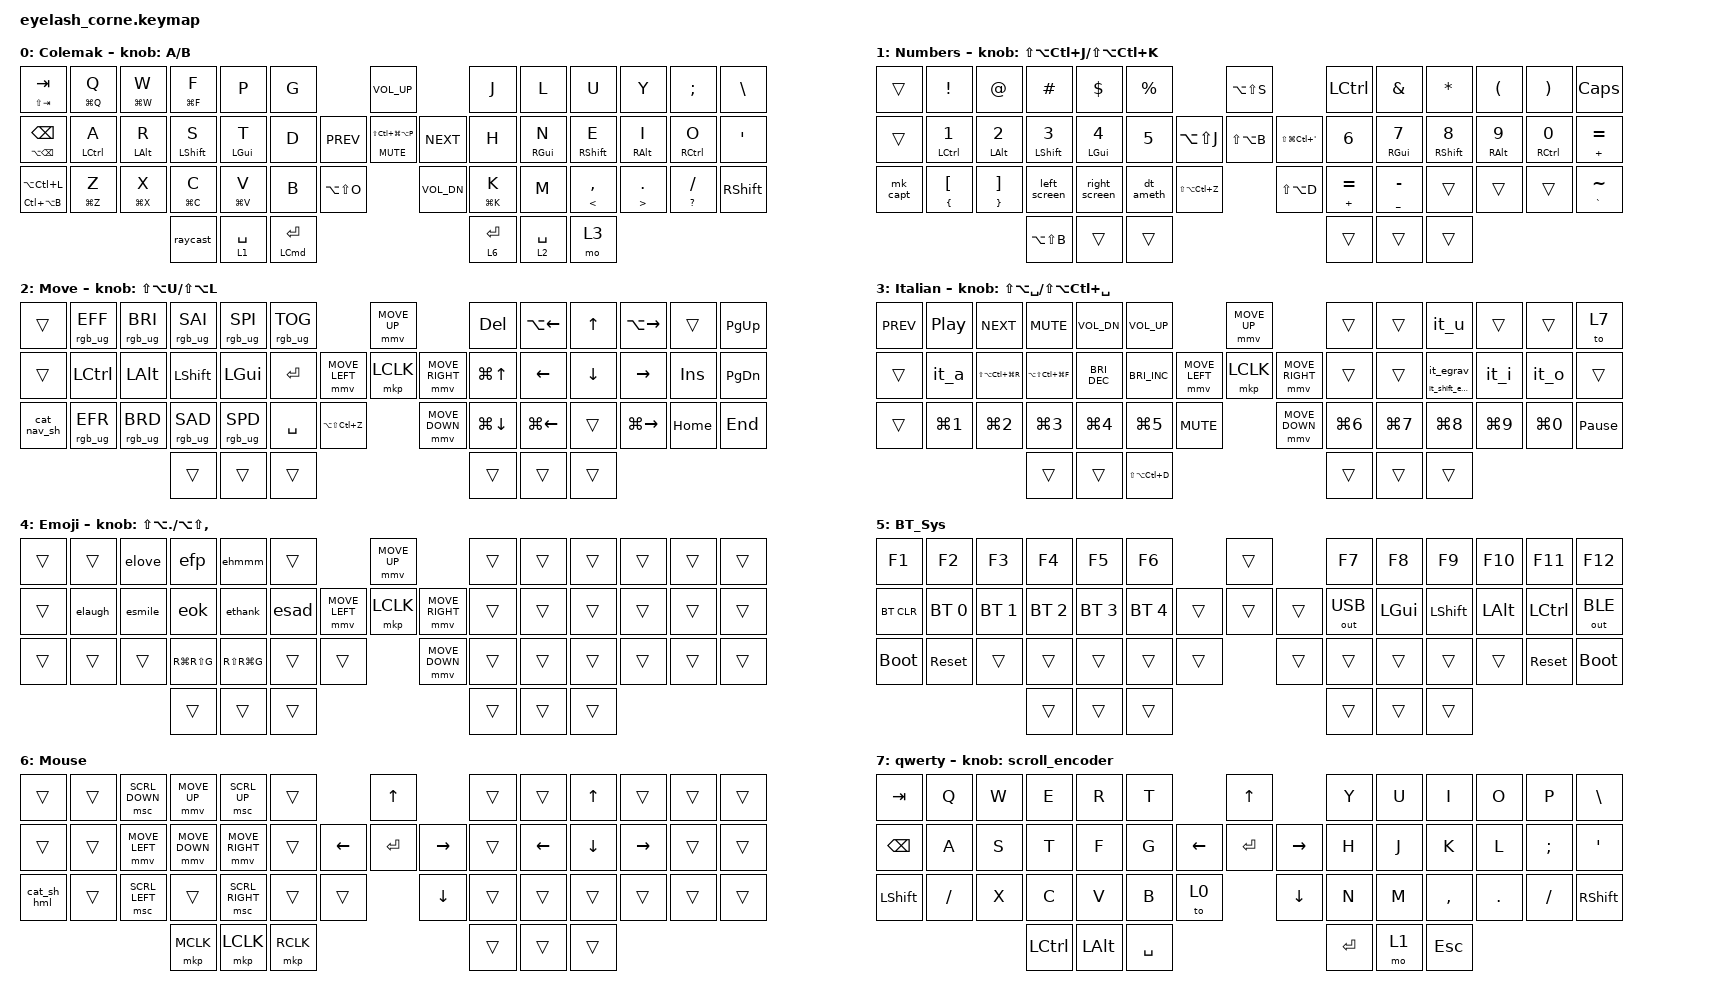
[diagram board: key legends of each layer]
#define ZMK_POINTING_DEFAULT_MOVE_VAL 1000  // 600
#define ZMK_POINTING_DEFAULT_SCRL_VAL 20   // 10

#include <input/processors.dtsi>
#include <zephyr/dt-bindings/input/input-event-codes.h>
#include <behaviors.dtsi>
#include <dt-bindings/zmk/bt.h>
#include <dt-bindings/zmk/keys.h>
#include <dt-bindings/zmk/outputs.h>
#include <dt-bindings/zmk/pointing.h>
#include <dt-bindings/zmk/rgb.h>

&mmv_input_listener { input-processors = <&zip_xy_scaler 2 1>; };

&msc_input_listener { input-processors = <&zip_scroll_scaler 2 1>; };

&msc {
    acceleration-exponent = <1>;      // 0
    time-to-max-speed-ms = <200>;       // 300
    delay-ms = <0>;                   // 0
};

&mmv {
    time-to-max-speed-ms = <500>;
    acceleration-exponent = <1>;
    trigger-period-ms = <16>;
};

&lt {
    tapping-term-ms = <175>;
    flavor = "balanced";
};

/ {
    behaviors {
        td0: td0 {
            compatible = "zmk,behavior-tap-dance";
            display-name = "Shift/Caps Lock Tap Dance";
            #binding-cells = <0>;
            bindings = <&kp LEFT_SHIFT>, <&kp CAPS>;
        };

        ht_bck: ht_bck {
            compatible = "zmk,behavior-hold-tap";
            label = "HT_BCK";
            bindings = <&kp>, <&kp>;

            #binding-cells = <2>;
            tapping-term-ms = <145>;
            quick-tap-ms = <0>;
            require-prior-idle-ms = <140>;
            flavor = "balanced";
        };

        ht: ht {
            compatible = "zmk,behavior-hold-tap";
            label = "HT";
            bindings = <&kp>, <&kp>;

            #binding-cells = <2>;
            tapping-term-ms = <145>;
            quick-tap-ms = <50>;
            require-prior-idle-ms = <50>;
            flavor = "balanced";
        };

        as: as {
            compatible = "zmk,behavior-hold-tap";
            label = "AS";
            #binding-cells = <2>;
            bindings = <&kp>, <&kp>;

            tapping-term-ms = <190>;
            quick-tap-ms = <50>;
            require-prior-idle-ms = <50>;
            flavor = "balanced";
        };

        lhmrow: lhmrow {
            compatible = "zmk,behavior-hold-tap";
            label = "LHMROW";
            bindings = <&kp>, <&kp>;

            #binding-cells = <2>;
            tapping-term-ms = <170>;
            quick-tap-ms = <30>;
            require-prior-idle-ms = <100>;
            flavor = "balanced";
            hold-trigger-key-positions = <7 8 9 10 11 12 22 23 24 25 26 27 36 37 38 39 40 41 45 46 47 6 7 8 9 10 20 21 22 23 24 25 35 36 37 38 39 45 46 47 19>;
        };

        rhmrow: rhmrow {
            compatible = "zmk,behavior-hold-tap";
            label = "RHMROW";
            bindings = <&kp>, <&kp>;

            #binding-cells = <2>;
            tapping-term-ms = <170>;
            quick-tap-ms = <30>;
            require-prior-idle-ms = <100>;
            flavor = "balanced";
            hold-trigger-key-positions = <0 1 2 3 4 5 13 14 15 16 17 18 28 29 30 31 32 33 34 42 43 44>;
        };

        mk_capt: mk_capt {
            compatible = "zmk,behavior-tap-dance";
            label = "MK_CAPT";
            #binding-cells = <0>;
            bindings =
                <&ht LS(LC(LG(NUMBER_4))) LG(LS(NUMBER_2))>,
                <&ht LG(LS(N5)) LG(LS(NUMBER_4))>;

            tapping-term-ms = <185>;
        };

        it_e: it_e {
            compatible = "zmk,behavior-hold-tap";
            label = "IT_E";
            bindings = <&it_shift_egrav>, <&it_egrav>;

            #binding-cells = <2>;
            tapping-term-ms = <145>;
            quick-tap-ms = <50>;
            require-prior-idle-ms = <50>;
            flavor = "balanced";
        };

        dt_ameth: dt_ameth {
            compatible = "zmk,behavior-tap-dance";
            label = "DT_AMETH";
            #binding-cells = <0>;
            tapping-term-ms = <185>;
            bindings = <&kp LA(LS(O))>, <&kp LA(LS(D))>, <&kp LS(LA(J))>;
        };

        cat_sh_hml: cat_sh_hml {
            compatible = "zmk,behavior-tap-dance";
            label = "CAT_SH_HML";
            #binding-cells = <0>;
            bindings = <&ht LEFT_SHIFT LS(LA(LG(SLASH)))>, <&to 0>;

            tapping-term-ms = <220>;
        };

        cat_nav_sh: cat_nav_sh {
            compatible = "zmk,behavior-tap-dance";
            label = "CAT_NAV_SH";
            #binding-cells = <0>;
            tapping-term-ms = <190>;
            bindings =
                <&ht LEFT_SHIFT LS(LA(LG(SLASH)))>,
                <&kp RG(RS(G))>,
                <&to 6>;
        };

        raycast: raycast {
            compatible = "zmk,behavior-tap-dance";
            label = "RAYCAST";
            #binding-cells = <0>;
            bindings = <&lt 4 LG(SPACE)>, <&kp LC(LG(SPACE))>;

            tapping-term-ms = <175>;
        };

        left_screen: left_screen {
            compatible = "zmk,behavior-tap-dance";
            label = "LEFT_SCREEN";
            #binding-cells = <0>;
            tapping-term-ms = <175>;
            bindings = <&ht LA(LS(LC(W))) LC(LEFT)>, <&kp LA(LS(W))>;
        };

        right_screen: right_screen {
            compatible = "zmk,behavior-tap-dance";
            label = "RIGHT_SCREEN";
            #binding-cells = <0>;
            tapping-term-ms = <175>;
            bindings = <&ht LA(LS(LC(E))) LC(RIGHT)>, <&kp LA(LS(Y))>;
        };

        mic: mic {
            compatible = "zmk,behavior-tap-dance";
            label = "MIC";
            #binding-cells = <0>;
            bindings = <&kp F>, <&kp F>, <&kp RG(RS(G))>;

            tapping-term-ms = <180>;
        };

        ht_cmd: ht_cmd {
            compatible = "zmk,behavior-hold-tap";
            label = "HT_CMD";
            bindings = <&kp>, <&kp>;

            #binding-cells = <2>;
            tapping-term-ms = <185>;
            quick-tap-ms = <50>;
            require-prior-idle-ms = <50>;
            flavor = "tap-preferred";
        };
    };

    rgb_encoder: rgb_encoder {
        compatible = "zmk,behavior-sensor-rotate";
        #sensor-binding-cells = <0>;
        bindings = <&rgb_ug RGB_BRI>, <&rgb_ug RGB_BRD>;
    };

    scroll_encoder: scroll_encoder {
        compatible = "zmk,behavior-sensor-rotate";
        #sensor-binding-cells = <0>;
        bindings = <&msc SCRL_DOWN>, <&msc SCRL_UP>;

        tap-ms = <100>;
    };

    macros {
        it_egrav: it_egrav {
            compatible = "zmk,behavior-macro";
            #binding-cells = <0>;
            bindings = <&kp LA(GRAVE) &kp E>;
            label = "IT_EGRAV";
            wait-ms = <30>;
        };

        it_shift_egrav: it_shift_egrav {
            compatible = "zmk,behavior-macro";
            #binding-cells = <0>;
            bindings = <&kp LA(E) &kp E>;
            label = "IT_SHIFT_EGRAV";
        };

        it_i: it_i {
            compatible = "zmk,behavior-macro";
            #binding-cells = <0>;
            bindings = <&kp LA(GRAVE) &kp I>;
            label = "IT_I";
        };

        it_o: it_o {
            compatible = "zmk,behavior-macro";
            #binding-cells = <0>;
            bindings = <&kp LA(GRAVE) &kp O>;
            label = "IT_O";
        };

        it_u: it_u {
            compatible = "zmk,behavior-macro";
            #binding-cells = <0>;
            bindings = <&kp LA(GRAVE) &kp U>;
            label = "IT_U";
        };

        it_a: it_a {
            compatible = "zmk,behavior-macro";
            #binding-cells = <0>;
            bindings = <&kp LA(GRAVE) &kp A>;
            label = "IT_A";
        };

        elaugh: elaugh {
            compatible = "zmk,behavior-macro";
            #binding-cells = <0>;
            bindings = <&kp UNDERSCORE &kp L &kp A>;
            label = "ELAUGH";
            wait-ms = <20>;
        };

        eok: eok {
            compatible = "zmk,behavior-macro";
            #binding-cells = <0>;
            bindings = <&kp UNDERSCORE &kp O &kp K>;
            label = "EOK";
            wait-ms = <20>;
        };

        ethank: ethank {
            compatible = "zmk,behavior-macro";
            #binding-cells = <0>;
            bindings = <&kp UNDERSCORE &kp T &kp H>;
            label = "ETHANK";
            wait-ms = <20>;
        };

        esmile: esmile {
            compatible = "zmk,behavior-macro";
            #binding-cells = <0>;
            bindings = <&kp UNDERSCORE &kp S &kp M>;
            label = "ESMILE";
            wait-ms = <20>;
        };

        esad: esad {
            compatible = "zmk,behavior-macro";
            #binding-cells = <0>;
            bindings = <&kp UNDERSCORE &kp S &kp A &kp D>;
            label = "ESAD";
            wait-ms = <20>;
        };

        elove: elove {
            compatible = "zmk,behavior-macro";
            #binding-cells = <0>;
            bindings = <&kp UNDERSCORE &kp L &kp V>;
            label = "ELOVE";
            wait-ms = <20>;
        };

        ehmmm: ehmmm {
            compatible = "zmk,behavior-macro";
            #binding-cells = <0>;
            bindings = <&kp UNDERSCORE &kp H &kp M>;
            label = "EHMMM";
            wait-ms = <20>;
        };

        ecoffe: ecoffe {
            compatible = "zmk,behavior-macro";
            #binding-cells = <0>;
            bindings = <&kp UNDERSCORE &kp C &kp F>;
            label = "ECOFFE";
            wait-ms = <20>;
        };

        doublecmd: doublecmd {
            compatible = "zmk,behavior-macro";
            #binding-cells = <0>;
            bindings = <&kp LCMD &kp LCMD>;
            label = "DOUBLECMD";
            wait-ms = <50>;
        };

        doublectrl: doublectrl {
            compatible = "zmk,behavior-macro";
            #binding-cells = <0>;
            bindings = <&kp LCTRL &kp LCTRL>;
            label = "DOUBLECTRL";
            wait-ms = <100>;
        };

        efp: efp {
            compatible = "zmk,behavior-macro";
            #binding-cells = <0>;
            bindings = <&kp UNDERSCORE &kp F &kp P>;
            label = "EFP";
            wait-ms = <20>;
        };
    };

    combos {
        compatible = "zmk,combos";

        Escape {
            bindings = <&kp ESCAPE>;
            key-positions = <3 2>;
            timeout-ms = <30>;
            require-prior-idle-ms = <50>;
            layers = <1 0 2>;
        };

        Cut {
            bindings = <&kp LG(X)>;
            key-positions = <30 29>;
            timeout-ms = <30>;
            require-prior-idle-ms = <50>;
            layers = <1 0 2>;
        };

        Emojy-Raycast {
            bindings = <&kp LG(LC(SPACE))>;
            key-positions = <30 31>;
            timeout-ms = <30>;
            require-prior-idle-ms = <50>;
            layers = <1 0 2>;
        };

        Paste {
            bindings = <&kp LG(V)>;
            key-positions = <31 32>;
            timeout-ms = <30>;
            require-prior-idle-ms = <50>;
            layers = <0 2 1>;
        };

        Del {
            bindings = <&kp DEL>;
            key-positions = <3 4>;
            timeout-ms = <30>;
            require-prior-idle-ms = <50>;
            layers = <0 2 1>;
        };

        toLayerZezo {
            bindings = <&kp LG(Z)>;
            key-positions = <28 29>;
            timeout-ms = <30>;
            require-prior-idle-ms = <50>;
            layers = <0 2 1>;
        };

        cmd_shift_left {
            bindings = <&kp LG(LEFT_SHIFT)>;
            key-positions = <17 16>;
            timeout-ms = <30>;
            require-prior-idle-ms = <50>;
            layers = <0 2 1>;
        };

        cmd_shift_right {
            bindings = <&kp RG(RIGHT_SHIFT)>;
            key-positions = <23 24>;
            timeout-ms = <30>;
            require-prior-idle-ms = <50>;
            layers = <0 2 1>;
        };

        ctrl_cmd_left {
            bindings = <&kp LG(LCTRL)>;
            key-positions = <17 14>;
            timeout-ms = <30>;
            require-prior-idle-ms = <50>;
            layers = <0 2 1>;
        };

        cmd_ctrl_right {
            bindings = <&kp RG(RCTRL)>;
            key-positions = <23 26>;
            timeout-ms = <30>;
            require-prior-idle-ms = <50>;
            layers = <0 2 1>;
        };

        alt_cmd_left {
            bindings = <&kp LG(LEFT_ALT)>;
            key-positions = <15 17>;
            timeout-ms = <30>;
            require-prior-idle-ms = <50>;
            layers = <0 2 1>;
        };

        alt_cmd_right {
            bindings = <&kp RG(RIGHT_ALT)>;
            key-positions = <23 25>;
            timeout-ms = <30>;
            require-prior-idle-ms = <50>;
            layers = <0 2 1>;
        };

        alt+shift-left {
            bindings = <&kp LA(LEFT_SHIFT)>;
            key-positions = <15 16>;
            timeout-ms = <30>;
            require-prior-idle-ms = <50>;
            layers = <0 2 1>;
        };

        alt+shift-right {
            bindings = <&kp RA(RIGHT_SHIFT)>;
            key-positions = <25 24>;
            timeout-ms = <30>;
            require-prior-idle-ms = <50>;
            layers = <0 2 1>;
        };

        ShortCat {
            bindings = <&kp LA(LS(LG(SLASH)))>;
            key-positions = <9 10>;
            timeout-ms = <30>;
            require-prior-idle-ms = <50>;
            layers = <0 2 1>;
        };

        ctrl-alt-shift-left {
            bindings = <&kp LS(LA(LCTRL))>;
            key-positions = <14 15 16>;
            layers = <0 2 1>;
            timeout-ms = <30>;
            require-prior-idle-ms = <50>;
        };

        ctrl-alt-shift-right {
            bindings = <&kp LS(LA(RCTRL))>;
            key-positions = <24 25 26>;
            timeout-ms = <30>;
            require-prior-idle-ms = <50>;
            layers = <0 2 1>;
        };
    };

    keymap {
        compatible = "zmk,keymap";

        Colemak {
            display-name = "Colemak";
            bindings = <
&ht LS(TAB) TAB             &ht_cmd LG(Q) Q  &ht_cmd LG(W) W     &ht_cmd LG(F) F       &kp P               &kp G                                        &kp C_VOLUME_UP                           &kp J            &kp L                &kp U                  &kp Y                    &kp SEMI            &kp BSLH
&ht_bck LA(BSPC) BACKSPACE  &lhmrow LCTRL A  &lhmrow LEFT_ALT R  &lhmrow LEFT_SHIFT S  &lhmrow LEFT_GUI T  &kp D                            &kp C_PREV  &as C_MUTE LS(LC(LG(LA(P))))  &kp C_NEXT  &kp H            &rhmrow RIGHT_GUI N  &rhmrow RIGHT_SHIFT E  &rhmrow RIGHT_ALT I      &rhmrow RCTRL O     &kp SQT
&ht LC(LA(B)) LA(LC(L))     &ht_cmd LG(Z) Z  &ht_cmd LG(X) X     &ht_cmd LG(C) C       &ht_cmd LG(V) V     &kp B           &kp LA(LS(O))                &kp C_VOL_DN                              &ht_cmd LG(K) K  &kp M                &as LESS_THAN COMMA    &as GREATER_THAN PERIOD  &as QUESTION SLASH  &kp RSHFT
                                                                 &raycast              &lt 1 SPACE         &ht LCMD ENTER                                                                         &lt 6 ENTER      &lt 2 SPACE          &mo 3
            >;

            sensor-bindings = <&inc_dec_kp A B>;
        };

        Numbers {
            display-name = "Numbers";
            bindings = <
&trans    &kp EXCLAMATION              &kp AT_SIGN                    &kp POUND                    &kp DOLLAR             &kp PERCENT                                      &kp LA(LS(S))                       &kp LCTRL       &kp AMPERSAND         &kp ASTERISK      &kp LEFT_PARENTHESIS  &kp RIGHT_PARENTHESIS  &kp CAPSLOCK
&trans    &lhmrow LCTRL NUMBER_1       &lhmrow LALT NUMBER_2          &lhmrow LEFT_SHIFT NUMBER_3  &lhmrow LGUI NUMBER_4  &kp N5                            &kp LA(LS(J))  &kp LS(LA(B))  &kp LS(LG(LC(SQT)))  &kp N6          &rhmrow RGUI N7       &rhmrow RSHFT N8  &rhmrow RIGHT_ALT N9  &rhmrow RCTRL N0       &as PLUS EQUAL
&mk_capt  &as LEFT_BRACE LEFT_BRACKET  &as RIGHT_BRACE RIGHT_BRACKET  &left_screen                 &right_screen          &dt_ameth    &kp LS(LA(LC(Z)))                   &kp LS(LA(D))                       &as PLUS EQUAL  &as UNDERSCORE MINUS  &trans            &trans                &trans                 &as GRAVE TILDE
                                                                      &kp LA(LS(B))                &trans                 &trans                                                                               &trans          &trans                &trans
            >;

            sensor-bindings = <&inc_dec_kp LS(LA(LC(J))) LS(LA(LC(K)))>;
        };

        Move {
            display-name = "Move";
            bindings = <
&trans       &rgb_ug RGB_EFF  &rgb_ug RGB_BRI  &rgb_ug RGB_SAI  &rgb_ug RGB_SPI  &rgb_ug RGB_TOG                                       &mmv MOVE_UP                     &kp DEL           &kp LA(LEFT)  &kp UP    &kp LA(RIGHT)  &trans    &kp PG_UP
&trans       &kp LCTRL        &kp LALT         &kp LSHFT        &kp LGUI         &kp ENTER                             &mmv MOVE_LEFT  &mkp LCLK       &mmv MOVE_RIGHT  &kp LG(UP_ARROW)  &kp LEFT      &kp DOWN  &kp RIGHT      &kp INS   &kp PG_DN
&cat_nav_sh  &rgb_ug RGB_EFR  &rgb_ug RGB_BRD  &rgb_ug RGB_SAD  &rgb_ug RGB_SPD  &kp SPACE        &kp LA(LS(LC(Z)))                    &mmv MOVE_DOWN                   &kp LG(DOWN)      &kp LG(LEFT)  &trans    &kp LG(RIGHT)  &kp HOME  &kp END
                                               &trans           &trans           &trans                                                                                 &trans            &trans        &trans
            >;

            sensor-bindings = <&inc_dec_kp LS(LA(U)) LS(LA(L))>;
        };

        Italian {
            display-name = "Italian";
            bindings = <
&kp C_PREV  &kp C_PP    &kp C_NEXT             &kp K_MUTE             &kp C_VOL_DN          &kp C_VOL_UP                                        &mmv MOVE_UP                     &trans      &trans      &it_u       &trans      &trans      &to 7
&trans      &it_a       &kp LS(LA(LC(LG(R))))  &kp LA(LS(LC(LG(F))))  &kp C_BRIGHTNESS_DEC  &kp C_BRIGHTNESS_INC                &mmv MOVE_LEFT  &mkp LCLK       &mmv MOVE_RIGHT  &trans      &trans      &it_e 0 0   &it_i       &it_o       &trans
&trans      &kp LG(N1)  &kp LG(N2)             &kp LG(N3)             &kp LG(N4)            &kp LG(N5)            &kp C_MUTE                    &mmv MOVE_DOWN                   &kp LG(N6)  &kp LG(N7)  &kp LG(N8)  &kp LG(N9)  &kp LG(N0)  &kp PAUSE_BREAK
                                               &trans                 &trans                &kp LS(LA(LC(D)))                                                                    &trans      &trans      &trans
            >;

            sensor-bindings = <&inc_dec_kp LS(LA(SPACE)) LS(LA(LC(SPACE)))>;
        };

        Emoji {
            bindings = <
&trans  &trans   &elove   &efp           &ehmmm         &trans                            &mmv MOVE_UP                     &trans  &trans  &trans  &trans  &trans  &trans
&trans  &elaugh  &esmile  &eok           &ethank        &esad             &mmv MOVE_LEFT  &mkp LCLK       &mmv MOVE_RIGHT  &trans  &trans  &trans  &trans  &trans  &trans
&trans  &trans   &trans   &kp RG(RS(G))  &kp RS(RG(G))  &trans  &trans                    &mmv MOVE_DOWN                   &trans  &trans  &trans  &trans  &trans  &trans
                          &trans         &trans         &trans                                                             &trans  &trans  &trans
            >;

            label = "Emoji";
            sensor-bindings = <&inc_dec_kp LS(LA(PERIOD)) LA(LS(COMMA))>;
        };

        BT_Sys {
            bindings = <
&kp F1       &kp F2        &kp F3        &kp F4        &kp F5        &kp F6                          &trans          &kp F7        &kp F8    &kp F9     &kp F10   &kp F11     &kp F12
&bt BT_CLR   &bt BT_SEL 0  &bt BT_SEL 1  &bt BT_SEL 2  &bt BT_SEL 3  &bt BT_SEL 4            &trans  &trans  &trans  &out OUT_USB  &kp LGUI  &kp LSHFT  &kp LALT  &kp LCTRL   &out OUT_BLE
&bootloader  &sys_reset    &trans        &trans        &trans        &trans        &trans            &trans          &trans        &trans    &trans     &trans    &sys_reset  &bootloader
                                         &trans        &trans        &trans                                          &trans        &trans    &trans
            >;

            label = "BT_Sys";
        };

        Mouse {
            bindings = <
&trans       &trans  &msc SCRL_DOWN  &mmv MOVE_UP    &msc SCRL_UP     &trans                         &kp UP               &trans  &trans    &kp UP    &trans     &trans  &trans
&trans       &trans  &mmv MOVE_LEFT  &mmv MOVE_DOWN  &mmv MOVE_RIGHT  &trans               &kp LEFT  &kp RET   &kp RIGHT  &trans  &kp LEFT  &kp DOWN  &kp RIGHT  &trans  &trans
&cat_sh_hml  &trans  &msc SCRL_LEFT  &trans          &msc SCRL_RIGHT  &trans     &trans              &kp DOWN             &trans  &trans    &trans    &trans     &trans  &trans
                                     &mkp MCLK       &mkp LCLK        &mkp RCLK                                           &trans  &trans    &trans
            >;

            label = "Mouse";
        };

        qwerty {
            bindings = <
&kp TAB    &kp Q     &kp W  &kp E      &kp R     &kp T                         &kp UP               &kp Y      &kp U  &kp I      &kp O    &kp P     &kp BSLH
&kp BSPC   &kp A     &kp S  &kp T      &kp F     &kp G               &kp LEFT  &kp RET   &kp RIGHT  &kp H      &kp J  &kp K      &kp L    &kp SEMI  &kp SQT
&kp LSHFT  &kp FSLH  &kp X  &kp C      &kp V     &kp B      &to 0              &kp DOWN             &kp N      &kp M  &kp COMMA  &kp DOT  &kp FSLH  &kp RSHFT
                            &kp LCTRL  &kp LALT  &kp SPACE                                          &kp ENTER  &mo 1  &kp ESC
            >;

            label = "qwerty";
            sensor-bindings = <&scroll_encoder>;
        };
    };

    conditional_layers {
        compatible = "zmk,conditional-layers";

        BT-Sys {
            if-layers = <3 4>;
            then-layer = <5>;
        };
    };
};
